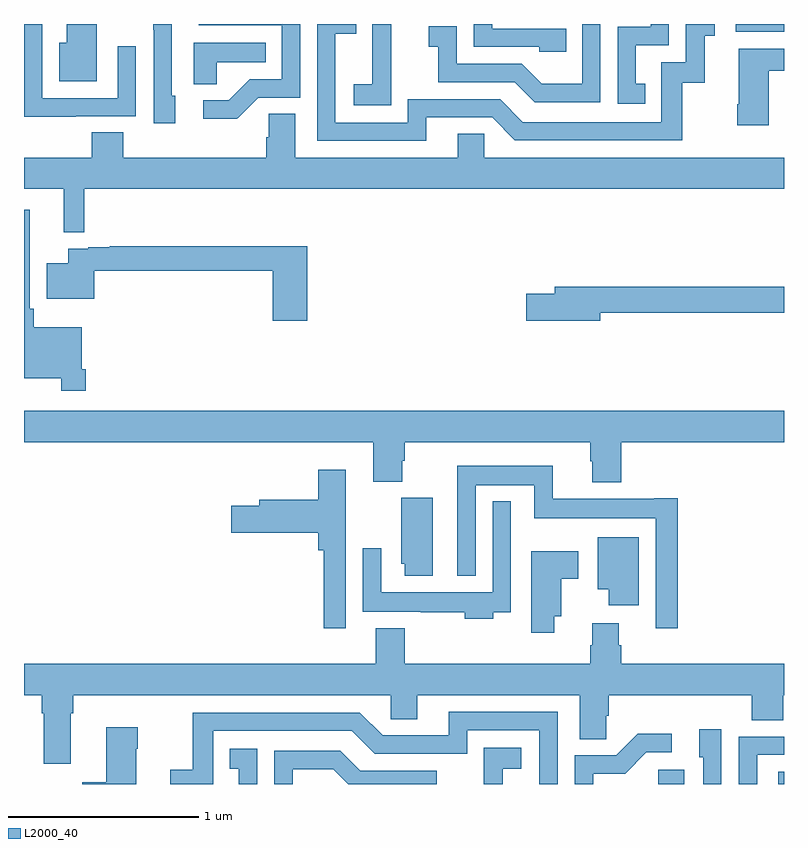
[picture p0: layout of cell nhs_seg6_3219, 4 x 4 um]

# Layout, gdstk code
import gdstk
lib = gdstk.Library(unit=1e-6, precision=1e-09)
def R(c, l, rs):  # rectangles x0, y0, x1, y1
    for r in rs: c.add(gdstk.rectangle(r[:2], r[2:], *l))
def P(c, l, *ps):  # polygons
    for p in ps: c.add(gdstk.Polygon(p, *l))
L2000_40 = (2000, 40)

nhs_seg6_3219 = lib.new_cell('nhs_seg6_3219')
R(nhs_seg6_3219, L2000_40, [(302.337,981.5,302.476,981.574), (302.969,981.5,303,981.565), (302.745,985.458,303,985.5)])
P(nhs_seg6_3219, L2000_40, [(301.117,985.008),(301.464,985.008),(301.584,984.888),(302.464,984.888),(302.464,985.191),(302.582,985.191),(302.582,985.437),(302.635,985.437),(302.635,985.5),(302.484,985.5),(302.484,985.299),(302.355,985.299),(302.355,984.984),(301.626,984.984),(301.506,985.104),(301.02,985.104),(301.02,984.981),(300.639,984.981),(300.639,985.45),(300.749,985.45),(300.749,985.5),(300.543,985.5),(300.543,984.885),(301.117,984.885)],
  [(299.383,985.5),(299.225,985.5),(299.225,985.402),(299.186,985.402),(299.186,985.199),(299.383,985.199)],
  [(299.797,985.122),(299.778,985.122),(299.778,985.5),(299.68,985.5),(299.68,985.471),(299.682,985.471),(299.682,984.978),(299.797,984.978)],
  [(301.853,985.476),(301.464,985.476),(301.464,985.5),(301.368,985.5),(301.368,985.38),(301.713,985.38),(301.713,985.353),(301.853,985.353)],
  [(299.273,985.014),(299.589,985.014),(299.589,985.384),(299.493,985.384),(299.493,985.11),(299.097,985.11),(299.097,985.5),(299,985.5),(299,985.013),(299.273,985.013)],
  [(302.27,985.185),(302.221,985.185),(302.221,985.389),(302.394,985.389),(302.394,985.5),(302.298,985.5),(302.298,985.485),(302.124,985.485),(302.124,985.08),(302.27,985.08)],
  [(300.126,985.005),(300.234,985.113),(300.453,985.113),(300.453,985.5),(299.919,985.5),(299.919,985.494),(300.357,985.494),(300.357,985.209),(300.188,985.209),(300.077,985.098),(299.943,985.098),(299.943,985.001),(300.121,985.001)],
  [(300.933,985.279),(300.932,985.279),(300.932,985.5),(300.834,985.5),(300.834,985.412),(300.833,985.412),(300.833,985.183),(300.735,985.183),(300.735,985.073),(300.933,985.073)],
  [(302.034,985.5),(301.938,985.5),(301.938,985.186),(301.724,985.186),(301.62,985.29),(301.278,985.29),(301.278,985.489),(301.131,985.489),(301.131,985.379),(301.18,985.379),(301.18,985.194),(301.583,985.194),(301.688,985.089),(302.034,985.089)],
  [(300.015,985.298),(300.272,985.298),(300.272,985.402),(299.894,985.402),(299.894,985.183),(300.015,985.183)],
  [(302.92,985.255),(303,985.255),(303,985.369),(302.762,985.369),(302.762,985.078),(302.755,985.078),(302.755,984.966),(302.92,984.966)],
  [(299.318,984.632),(303,984.632),(303,984.796),(301.422,984.796),(301.422,984.923),(301.283,984.923),(301.283,984.796),(300.427,984.796),(300.427,985.028),(300.288,985.028),(300.288,984.905),(300.275,984.905),(300.275,984.796),(299.522,984.796),(299.522,984.929),(299.357,984.929),(299.357,984.796),(299,984.796),(299,984.632),(299.21,984.632),(299.21,984.403),(299.318,984.403)],
  [(299.324,983.683),(299.304,983.683),(299.304,983.905),(299.051,983.905),(299.051,984.001),(299.031,984.001),(299.031,984.523),(299,984.523),(299,983.636),(299.196,983.636),(299.196,983.571),(299.324,983.571)],
  [(300.491,984.331),(299.452,984.331),(299.452,984.324),(299.338,984.324),(299.338,984.318),(299.234,984.318),(299.234,984.241),(299.12,984.241),(299.12,984.053),(299.369,984.053),(299.369,984.202),(300.308,984.202),(300.308,983.937),(300.491,983.937)],
  [(302.032,983.98),(303,983.98),(303,984.116),(301.793,984.116),(301.793,984.08),(301.644,984.08),(301.644,983.938),(302.032,983.938)],
  [(302.144,983.3),(303,983.3),(303,983.464),(299,983.464),(299,983.3),(300.839,983.3),(300.839,983.092),(300.991,983.092),(300.991,983.201),(301.004,983.201),(301.004,983.3),(301.979,983.3),(301.979,983.199),(301.991,983.199),(301.991,983.087),(302.144,983.087)],
  [(302.441,983.005),(302.318,983.005),(302.318,983.002),(301.784,983.002),(301.784,983.176),(301.28,983.176),(301.28,982.595),(301.377,982.595),(301.377,983.072),(301.686,983.072),(301.686,982.898),(302.325,982.898),(302.325,982.32),(302.441,982.32)],
  [(300.693,982.839),(300.694,982.839),(300.694,983.155),(300.548,983.155),(300.548,982.995),(300.239,982.995),(300.239,982.965),(300.09,982.965),(300.09,982.823),(300.548,982.823),(300.548,982.73),(300.577,982.73),(300.577,982.32),(300.693,982.32)],
  [(301.15,983.007),(300.986,983.007),(300.986,982.659),(301.004,982.659),(301.004,982.596),(301.15,982.596)],
  [(301.471,982.404),(301.563,982.404),(301.563,982.987),(301.467,982.987),(301.467,982.51),(300.879,982.51),(300.879,982.741),(300.783,982.741),(300.783,982.406),(301.087,982.406),(301.087,982.404),(301.319,982.404),(301.319,982.37),(301.471,982.37)],
  [(302.236,982.798),(302.021,982.798),(302.021,982.526),(302.078,982.526),(302.078,982.44),(302.236,982.44)],
  [(301.792,982.382),(301.828,982.382),(301.828,982.579),(301.918,982.579),(301.918,982.726),(301.67,982.726),(301.67,982.296),(301.792,982.296)],
  [(299.245,981.872),(299.258,981.872),(299.258,981.968),(300.93,981.968),(300.93,981.841),(301.069,981.841),(301.069,981.968),(301.925,981.968),(301.925,981.736),(302.064,981.736),(302.064,981.859),(302.078,981.859),(302.078,981.968),(302.831,981.968),(302.831,981.835),(302.996,981.835),(302.996,981.968),(303,981.968),(303,982.132),(302.144,982.132),(302.144,982.23),(302.131,982.23),(302.131,982.345),(301.991,982.345),(301.991,982.23),(301.979,982.23),(301.979,982.132),(301.004,982.132),(301.004,982.321),(300.851,982.321),(300.851,982.132),(299,982.132),(299,981.968),(299.093,981.968),(299.093,981.872),(299.105,981.872),(299.105,981.606),(299.245,981.606)],
  [(299.997,981.78),(300.726,981.78),(300.846,981.66),(301.332,981.66),(301.332,981.783),(301.713,981.783),(301.713,981.5),(301.809,981.5),(301.809,981.879),(301.235,981.879),(301.235,981.756),(300.888,981.756),(300.768,981.876),(299.889,981.876),(299.889,981.574),(299.771,981.574),(299.771,981.5),(299.997,981.5)],
  [(299.59,981.686),(299.598,981.686),(299.598,981.799),(299.432,981.799),(299.432,981.509),(299.306,981.509),(299.306,981.5),(299.59,981.5)],
  [(302.67,981.787),(302.555,981.787),(302.555,981.642),(302.574,981.642),(302.574,981.5),(302.67,981.5)],
  [(301.995,981.555),(302.164,981.555),(302.275,981.666),(302.41,981.666),(302.41,981.764),(302.231,981.764),(302.118,981.651),(301.899,981.651),(301.899,981.5),(301.995,981.5)],
  [(302.859,981.654),(303,981.654),(303,981.75),(302.763,981.75),(302.763,981.5),(302.859,981.5)],
  [(301.52,981.581),(301.618,981.581),(301.618,981.691),(301.42,981.691),(301.42,981.5),(301.52,981.5)],
  [(300.228,981.685),(300.082,981.685),(300.082,981.579),(300.131,981.579),(300.131,981.5),(300.228,981.5)],
  [(300.414,981.578),(300.628,981.578),(300.706,981.5),(301.173,981.5),(301.173,981.57),(300.769,981.57),(300.664,981.675),(300.318,981.675),(300.318,981.5),(300.414,981.5)])

lib.write_gds('nhs_seg6_3219.gds')
